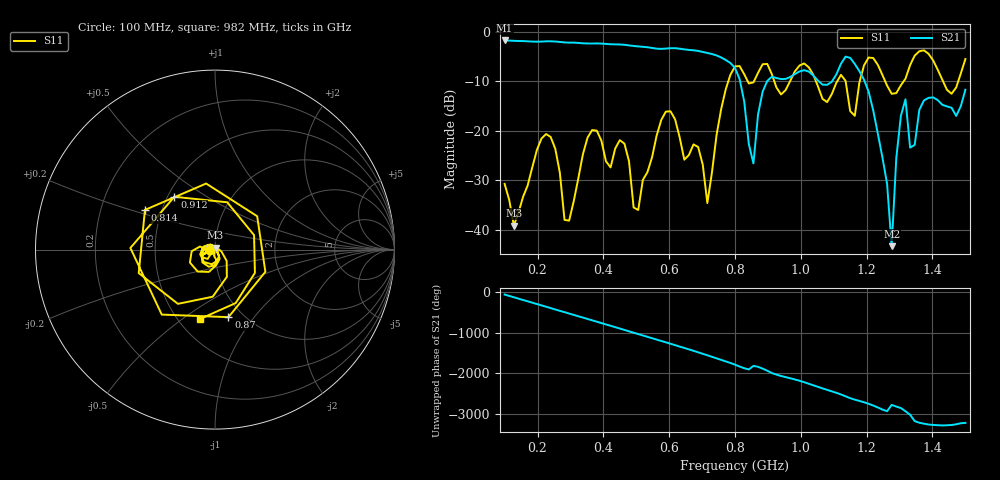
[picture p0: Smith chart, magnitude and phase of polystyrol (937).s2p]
! NanoVNA-App
! Date: 2025-09-25 15:37:10
! Start: 100MHz Stop: 1,5GHz Points: 101
! S-Parameter data: F S11 S21 S12 S22
# Hz S RI R 50
!  Frequency  S11_Real  S11_Imag  S21_Real  S21_Imag  S12_Real  S12_Imag  S22_Real  S22_Imag
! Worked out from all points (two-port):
!   101 points, 100 MHz to 1.5 GHz, reference 50 ohm
!   highest |S21| = -1.80 dB at 100 MHz (marker M1); lowest = -43.3 dB at 1.276 GHz (marker M2)
!   |S21| within 3 dB of the highest: start of sweep to 742.9 MHz
!   lowest |S11| = -39.1 dB at 128 MHz (marker M3), VSWR 1.02, Z = 50.3 + j1.06 ohm
!   |S11| at or under -10 dB: start of sweep to 779.8 MHz; 1.046 GHz to 1.111 GHz (65.07 MHz wide, 6.03 % of centre); 1.256 GHz to 1.313 GHz (56.66 MHz wide, 4.41 % of centre) (the widest 3 of 7)
!   S12 and S22 are empty: the file has one direction only
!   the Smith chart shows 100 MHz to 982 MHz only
!   S11 on the Smith chart (normalised r, x): 100 MHz: 0.94, -0.01; 814 MHz: 0.40, +0.22; 870 MHz: 0.85, -0.75; 912 MHz: 0.54, +0.37; 982 MHz: 0.63, -0.58
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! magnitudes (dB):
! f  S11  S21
! 100 MHz  -30.7  -1.8
! 128 MHz  -39.1  -1.9
! 212 MHz  -21.6  -2.0
! 282 MHz  -38.0  -2.2
! 338 MHz  -24.7  -2.4
! 464 MHz  -22.6  -2.7
! 506 MHz  -36.0  -3.0
! 576 MHz  -17.8  -3.5
! 716 MHz  -34.6  -4.3
! 800 MHz  -7.0  -7.3
! 814 MHz  -7.0  -9.6
! 856 MHz  -10.3  -26.6
! 870 MHz  -8.3  -16.7
! 912 MHz  -8.6  -9.1
! 982 MHz  -8.0  -8.6
! 1.038 GHz  -8.7  -8.9
! 1.164 GHz  -17.0  -6.5
! 1.192 GHz  -6.8  -9.7
! 1.276 GHz  -12.5  -43.3
! 1.318 GHz  -9.5  -13.7
! 1.332 GHz  -6.8  -23.4
! 1.5 GHz  -5.5  -11.7
